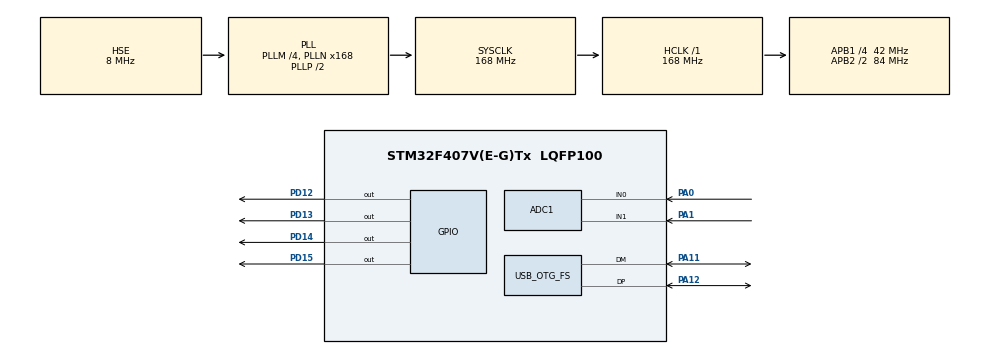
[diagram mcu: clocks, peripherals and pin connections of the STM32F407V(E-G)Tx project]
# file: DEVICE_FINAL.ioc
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ADC1.Channel-0\#ChannelRegularConversion=ADC_CHANNEL_0
ADC1.Channel-1\#ChannelRegularConversion=ADC_CHANNEL_1
ADC1.ContinuousConvMode=ENABLE
ADC1.NbrOfConversion=2
ADC1.NbrOfConversionFlag=1
ADC1.Rank-0\#ChannelRegularConversion=1
ADC1.Rank-1\#ChannelRegularConversion=2
ADC1.SamplingTime-0\#ChannelRegularConversion=ADC_SAMPLETIME_28CYCLES
ADC1.SamplingTime-1\#ChannelRegularConversion=ADC_SAMPLETIME_28CYCLES
ADC1.ScanConvMode=ENABLE
ADC1.master=1
Mcu.Family=STM32F4
Mcu.Name=STM32F407V(E-G)Tx
Mcu.Package=LQFP100
NVIC.OTG_FS_IRQn=true\:0\:0\:false\:false\:true\:false\:true\:true
NVIC.PriorityGroup=NVIC_PRIORITYGROUP_0
PA0-WKUP.Signal=ADCx_IN0
PA1.Signal=ADCx_IN1
PA11.Mode=Device_Only
PA11.Signal=USB_OTG_FS_DM
PA12.Mode=Device_Only
PA12.Signal=USB_OTG_FS_DP
PD12.Signal=GPIO_Output
PD13.Signal=GPIO_Output
PD14.Signal=GPIO_Output
PD15.Signal=GPIO_Output
PH0-OSC_IN.Mode=HSE-External-Oscillator
PH0-OSC_IN.Signal=RCC_OSC_IN
PH1-OSC_OUT.Mode=HSE-External-Oscillator
PH1-OSC_OUT.Signal=RCC_OSC_OUT
ProjectManager.HeapSize=0x200
ProjectManager.StackSize=0x400
ProjectManager.TargetToolchain=STM32CubeIDE
RCC.48MHZClocksFreq_Value=48000000
RCC.AHBFreq_Value=168000000
RCC.APB1CLKDivider=RCC_HCLK_DIV4
RCC.APB1Freq_Value=42000000
RCC.APB1TimFreq_Value=84000000
RCC.APB2CLKDivider=RCC_HCLK_DIV2
RCC.APB2Freq_Value=84000000
RCC.APB2TimFreq_Value=168000000
RCC.CortexFreq_Value=168000000
RCC.HCLKFreq_Value=168000000
RCC.HSE_VALUE=8000000
RCC.HSI_VALUE=16000000
RCC.LSE_VALUE=32768
RCC.PLLM=4
RCC.PLLN=168
RCC.PLLQ=7
RCC.SYSCLKFreq_VALUE=168000000
RCC.SYSCLKSource=RCC_SYSCLKSOURCE_PLLCLK
RCC.VCOOutputFreq_Value=336000000
SH.ADCx_IN0.0=ADC1_IN0,IN0
SH.ADCx_IN1.0=ADC1_IN1,IN1
USB_DEVICE.CLASS_NAME_FS=CDC
USB_DEVICE.VirtualMode-CDC_FS=Cdc
USB_DEVICE.VirtualModeFS=Cdc_FS
USB_OTG_FS.VirtualMode=Device_Only
VP_USB_DEVICE_VS_USB_DEVICE_CDC_FS.Mode=CDC_FS
board=STM32F407G-DISC1

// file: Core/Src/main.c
/* USER CODE BEGIN Header */
/**
  ******************************************************************************
  * @file           : main.c
  * @brief          : Main program body
  ******************************************************************************
  * @attention
  *
  * Copyright (c) 2024 STMicroelectronics.
  * All rights reserved.
  *
  * This software is licensed under terms that can be found in the LICENSE file
  * in the root directory of this software component.
  * If no LICENSE file comes with this software, it is provided AS-IS.
  *
  ******************************************************************************
  */
/* USER CODE END Header */
#include "main.h"
#include "usb_device.h"

/* USER CODE BEGIN Includes */
#include "usbd_cdc_if.h"
#include <stdio.h>
#include <string.h>
/* USER CODE END Includes */

ADC_HandleTypeDef hadc1;

/* USER CODE BEGIN PV */
//volatile uint8_t flag;
/* USER CODE END PV */

void SystemClock_Config(void);
static void MX_GPIO_Init(void);
static void MX_ADC1_Init(void);

/* USER CODE BEGIN 0 */
void ADC_Select_CH0(void){
	ADC_ChannelConfTypeDef sConfig = {0};
	/** Configure for the selected ADC regular channel its corresponding rank in the sequencer and its sample time.
	  */
	  sConfig.Channel = ADC_CHANNEL_0;
	  sConfig.Rank = 1;
	  sConfig.SamplingTime = ADC_SAMPLETIME_28CYCLES;
	  if (HAL_ADC_ConfigChannel(&hadc1, &sConfig) != HAL_OK)
	  {
	    Error_Handler();
	  }
}

void ADC_Select_CH1(void){
	 ADC_ChannelConfTypeDef sConfig = {0};
	/** Configure for the selected ADC regular channel its corresponding rank in the sequencer and its sample time.
	//  */
	  sConfig.Channel = ADC_CHANNEL_1;
	  sConfig.Rank = 1;
	  sConfig.SamplingTime = ADC_SAMPLETIME_28CYCLES;
	  if (HAL_ADC_ConfigChannel(&hadc1, &sConfig) != HAL_OK)
	  {
	    Error_Handler();
	  }
}

uint16_t ADC_Val[2];
/* USER CODE END 0 */

int main(void)
{

  /* USER CODE BEGIN 1 */
	char str[32];
  /* USER CODE END 1 */

  /* MCU Configuration--------------------------------------------------------*/

  /* Reset of all peripherals, Initializes the Flash interface and the Systick. */
  HAL_Init();

  /* Configure the system clock */
  SystemClock_Config();

  /* Initialize all configured peripherals */
  MX_GPIO_Init();
  MX_ADC1_Init();
  MX_USB_DEVICE_Init();

  /* Infinite loop */
  /* USER CODE BEGIN WHILE */
  while (1)
  {

	  HAL_GPIO_TogglePin(GPIOD, GPIO_PIN_15);
	  if(flag == 1){
		  ADC_Select_CH0();
		  HAL_ADC_Start(&hadc1);
		  HAL_ADC_PollForConversion(&hadc1, 1000);
		  ADC_Val[0] = HAL_ADC_GetValue(&hadc1);
		  HAL_ADC_Stop(&hadc1);
		  sprintf(str,"LDR  = %d \r\n",ADC_Val[0]);
		  CDC_Transmit_FS((uint8_t *)str, strlen(str));
		  flag = 0;
	  }
	  else if(flag == 2){
		  ADC_Select_CH1();
		  HAL_ADC_Start(&hadc1);
		  HAL_ADC_PollForConversion(&hadc1, 1000);
		  ADC_Val[1] = HAL_ADC_GetValue(&hadc1);
		  ADC_Val[1] = ADC_Val[1]/10.24;
		  HAL_ADC_Stop(&hadc1);
		  sprintf(str,"LM35  = %d \r\n",ADC_Val[1]);
		  CDC_Transmit_FS((uint8_t *)str, strlen(str));
		  flag = 0;
	  }
	  else if(flag == 3){
		  volatile uint16_t cnt=0;
//		  HAL_GPIO_WritePin(GPIOD, GPIO_PIN_12,GPIO_PIN_RESET);
//		  HAL_GPIO_WritePin(GPIOD, GPIO_PIN_13,GPIO_PIN_RESET);
//		  HAL_GPIO_WritePin(GPIOD, GPIO_PIN_14,GPIO_PIN_RESET);
//		  HAL_GPIO_WritePin(GPIOD, GPIO_PIN_15,GPIO_PIN_RESET);
		  while(cnt<10){
//		  			  HAL_GPIO_TogglePin(GPIOD, GPIO_PIN_12);
//		  			  HAL_GPIO_WritePin(GPIOD, GPIO_PIN_12,GPIO_PIN_SET);
//		  			  HAL_Delay(200);
//		  			  HAL_GPIO_WritePin(GPIOD, GPIO_PIN_13,GPIO_PIN_SET);
//		  			  HAL_Delay(200);
//		  			  HAL_GPIO_WritePin(GPIOD, GPIO_PIN_14,GPIO_PIN_SET);
//		  			  HAL_Delay(200);
//		  			  HAL_GPIO_WritePin(GPIOD, GPIO_PIN_15,GPIO_PIN_SET);
//		  			  HAL_GPIO_WritePin(GPIOD, GPIO_PIN_12,GPIO_PIN_RESET);
//		  			  HAL_Delay(200);
//		  			  HAL_GPIO_WritePin(GPIOD, GPIO_PIN_13,GPIO_PIN_RESET);
//		  			  HAL_Delay(200);
//		  			  HAL_GPIO_WritePin(GPIOD, GPIO_PIN_14,GPIO_PIN_RESET);
//		  			  HAL_Delay(200);
//		  			  HAL_GPIO_WritePin(GPIOD, GPIO_PIN_15,GPIO_PIN_RESET);
		  			  HAL_Delay(1000);
		  			  cnt++;
		  		  }
		  flag = 0;
	  }
//	  else{
//		  HAL_GPIO_WritePin(GPIOD, GPIO_PIN_14,GPIO_PIN_SET);
//	  }

	  HAL_Delay(1000);
    /* USER CODE END WHILE */

  }
}

void SystemClock_Config(void)
{
  RCC_OscInitTypeDef RCC_OscInitStruct = {0};
  RCC_ClkInitTypeDef RCC_ClkInitStruct = {0};

  /** Configure the main internal regulator output voltage
  */
  __HAL_RCC_PWR_CLK_ENABLE();
  __HAL_PWR_VOLTAGESCALING_CONFIG(PWR_REGULATOR_VOLTAGE_SCALE1);

  /** Initializes the RCC Oscillators according to the specified parameters
  * in the RCC_OscInitTypeDef structure.
  */
  RCC_OscInitStruct.OscillatorType = RCC_OSCILLATORTYPE_HSE;
  RCC_OscInitStruct.HSEState = RCC_HSE_ON;
  RCC_OscInitStruct.PLL.PLLState = RCC_PLL_ON;
  RCC_OscInitStruct.PLL.PLLSource = RCC_PLLSOURCE_HSE;
  RCC_OscInitStruct.PLL.PLLM = 4;
  RCC_OscInitStruct.PLL.PLLN = 168;
  RCC_OscInitStruct.PLL.PLLP = RCC_PLLP_DIV2;
  RCC_OscInitStruct.PLL.PLLQ = 7;
  if (HAL_RCC_OscConfig(&RCC_OscInitStruct) != HAL_OK)
  {
    Error_Handler();
  }

  /** Initializes the CPU, AHB and APB buses clocks
  */
  RCC_ClkInitStruct.ClockType = RCC_CLOCKTYPE_HCLK|RCC_CLOCKTYPE_SYSCLK
                              |RCC_CLOCKTYPE_PCLK1|RCC_CLOCKTYPE_PCLK2;
  RCC_ClkInitStruct.SYSCLKSource = RCC_SYSCLKSOURCE_PLLCLK;
  RCC_ClkInitStruct.AHBCLKDivider = RCC_SYSCLK_DIV1;
  RCC_ClkInitStruct.APB1CLKDivider = RCC_HCLK_DIV4;
  RCC_ClkInitStruct.APB2CLKDivider = RCC_HCLK_DIV2;

  if (HAL_RCC_ClockConfig(&RCC_ClkInitStruct, FLASH_LATENCY_5) != HAL_OK)
  {
    Error_Handler();
  }
}

static void MX_ADC1_Init(void)
{

  ADC_ChannelConfTypeDef sConfig = {0};

  /** Configure the global features of the ADC (Clock, Resolution, Data Alignment and number of conversion)
  */
  hadc1.Instance = ADC1;
  hadc1.Init.ClockPrescaler = ADC_CLOCK_SYNC_PCLK_DIV4;
  hadc1.Init.Resolution = ADC_RESOLUTION_12B;
  hadc1.Init.ScanConvMode = ENABLE;
  hadc1.Init.ContinuousConvMode = ENABLE;
  hadc1.Init.DiscontinuousConvMode = DISABLE;
  hadc1.Init.ExternalTrigConvEdge = ADC_EXTERNALTRIGCONVEDGE_NONE;
  hadc1.Init.ExternalTrigConv = ADC_SOFTWARE_START;
  hadc1.Init.DataAlign = ADC_DATAALIGN_RIGHT;
  hadc1.Init.NbrOfConversion = 2;
  hadc1.Init.DMAContinuousRequests = DISABLE;
  hadc1.Init.EOCSelection = ADC_EOC_SINGLE_CONV;
  if (HAL_ADC_Init(&hadc1) != HAL_OK)
  {
    Error_Handler();
  }

  /** Configure for the selected ADC regular channel its corresponding rank in the sequencer and its sample time.
  */
  sConfig.Channel = ADC_CHANNEL_0;
  sConfig.Rank = 1;
  sConfig.SamplingTime = ADC_SAMPLETIME_28CYCLES;
  if (HAL_ADC_ConfigChannel(&hadc1, &sConfig) != HAL_OK)
  {
    Error_Handler();
  }

  /** Configure for the selected ADC regular channel its corresponding rank in the sequencer and its sample time.
  */
  sConfig.Channel = ADC_CHANNEL_1;
  sConfig.Rank = 2;
  if (HAL_ADC_ConfigChannel(&hadc1, &sConfig) != HAL_OK)
  {
    Error_Handler();
  }

}

static void MX_GPIO_Init(void)
{
  GPIO_InitTypeDef GPIO_InitStruct = {0};

  /* GPIO Ports Clock Enable */
  __HAL_RCC_GPIOH_CLK_ENABLE();
  __HAL_RCC_GPIOA_CLK_ENABLE();
  __HAL_RCC_GPIOD_CLK_ENABLE();

  /*Configure GPIO pin Output Level */
  HAL_GPIO_WritePin(GPIOD, GPIO_PIN_12|GPIO_PIN_13|GPIO_PIN_14|GPIO_PIN_15, GPIO_PIN_RESET);

  /*Configure GPIO pins : PD12 PD13 PD14 PD15 */
  GPIO_InitStruct.Pin = GPIO_PIN_12|GPIO_PIN_13|GPIO_PIN_14|GPIO_PIN_15;
  GPIO_InitStruct.Mode = GPIO_MODE_OUTPUT_PP;
  GPIO_InitStruct.Pull = GPIO_NOPULL;
  GPIO_InitStruct.Speed = GPIO_SPEED_FREQ_LOW;
  HAL_GPIO_Init(GPIOD, &GPIO_InitStruct);

}

void Error_Handler(void)
{
  __disable_irq();
  while (1)
  {
  }
}
